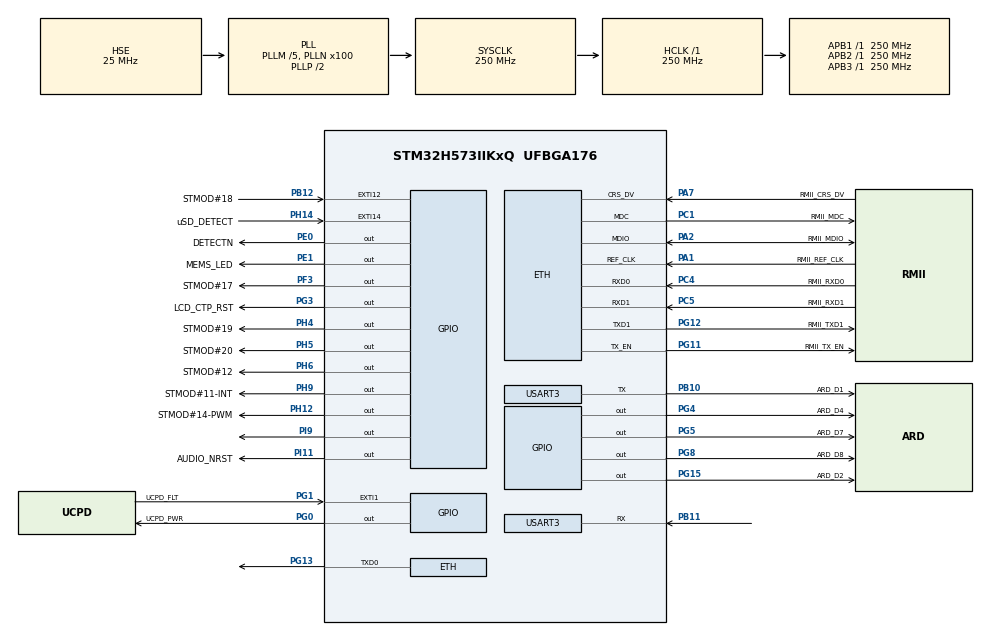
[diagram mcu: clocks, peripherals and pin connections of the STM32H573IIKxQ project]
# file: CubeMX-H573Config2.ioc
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BOOTPATH.BootPathName=LEGACY
BOOTPATH.UserSelectedBootPath=LEGACY
CORTEX_M33_NS.userName=CORTEX_M33
ETH.MediaInterface=HAL_ETH_RMII_MODE
ETH.RxBuffLen=1536
ITTIA_DB.I-CUBE-ITTIADB_Lite-H5.9.1.0.DB_APP_MEM_SEG_BUFFER_SIZE=3*128*1024
ITTIA_DB.I-CUBE-ITTIADB_Lite-H5.9.1.0.ITTIAIiDBIiLiteCcDatabaseJjITTIAIiDBIiLiteJjCore=true
ITTIA_DB.I-CUBE-ITTIADB_Lite-H5.9.1.0.ITTIAIiDBIiLiteCcDatabaseJjITTIAIiDBIiLiteJjThreadXOoSupport=true
Mcu.Family=STM32H5
Mcu.Name=STM32H573IIKxQ
Mcu.Package=UFBGA176
NETXDUO.ETH_ON=1
NETXDUO.LAN_8742=1
NETXDUO.NX_APP_IP_INSTANCE_THREAD_SIZE=2*1024
NETXDUO.NX_APP_MEM_POOL_SIZE=42*1024
NETXDUO.NX_APP_PACKET_POOL_SIZE=10
NETXDUO.NX_APP_THREAD_STACK_SIZE=2*1024
NETXDUO.NX_AUTO_IP_DEBUG=false
NETXDUO.NX_DHCP_CLIENT_RESTORE_STATE=true
NETXDUO.NX_ENABLE_INTERFACE_CAPABILITY=true
NETXDUO.NetXDuo_Application_Thread_Name=App_Main_Thread_Entry
NETXDUO.NetXDuo_Generate_Init_Code=true
NVIC.ETH_IRQn=true\:7\:0\:true\:false\:true\:false\:true\:true\:true
NVIC.PriorityGroup=NVIC_PRIORITYGROUP_4
NVIC.TIM6_IRQn=true\:15\:0\:false\:false\:true\:false\:false\:true\:true
NVIC.TimeBase=TIM6_IRQn
NVIC.TimeBaseIP=TIM6
NVIC.USART3_IRQn=true\:0\:0\:false\:false\:true\:false\:true\:true\:true
NetXDuo.BSP.number=1
NetXDuo0.BSP.STBoard=false
NetXDuo0.BSP.api=BSP_COMPONENT_DRIVER
NetXDuo0.BSP.component=lan8742
NetXDuo0.BSP.instance=lan8742
NetXDuo0.BSP.name=LAN_Component
NetXDuo0.BSP.semaphore=SEMA_lan8742
NetXDuo0.BSP.solution=lan8742
PA0.GPIO_Label=ARD_A2
PA0.Signal=ADCx_INP0
PA1.GPIO_Label=RMII_REF_CLK
PA1.Mode=RMII
PA1.Signal=ETH_REF_CLK
PA10.Signal=USART1_RX
PA11.GPIO_Label=USB_FS_N
PA11.Signal=USB_DM
PA12.GPIO_Label=USB_FS_P
PA12.Signal=USB_DP
PA13(JTMS/SWDIO).GPIO_Label=JTMS
PA13(JTMS/SWDIO).Signal=DEBUG_JTMS-SWDIO
PA14(JTCK/SWCLK).GPIO_Label=JTCK
PA14(JTCK/SWCLK).Signal=DEBUG_JTCK-SWCLK
PA15(JTDI).GPIO_Label=JTDI
PA15(JTDI).Signal=DEBUG_JTDI
PA2.GPIO_Label=RMII_MDIO
PA2.Mode=RMII
PA2.Signal=ETH_MDIO
PA3.GPIO_Label=ARD_D10
PA3.Signal=SPI2_NSS
PA4.GPIO_Label=ARD_A1
PA4.Signal=ADCx_INP18
PA5.GPIO_Label=ARD_A3
PA5.Signal=ADCx_INP19
PA6.GPIO_Label=ARD_A4
PA6.Signal=ADCx_INP3
PA7.GPIO_Label=RMII_CRS_DV
PA7.Mode=RMII
PA7.Signal=ETH_CRS_DV
PA8.GPIO_Label=ARD_D9
PA8.Signal=S_TIM1_CH1
PA9.Signal=USART1_TX
PB0.GPIO_Label=ARD_A0
PB0.Signal=ADCx_INP9
PB1.GPIO_Mode=GPIO_MODE_AF_PP
PB1.GPIO_PuPd=GPIO_NOPULL
PB1.GPIO_Speed_High_Default=GPIO_SPEED_FREQ_VERY_HIGH
PB1.Signal=OCTOSPI1_IO0
PB10.GPIO_Label=ARD_D1
PB10.Mode=Asynchronous
PB10.Signal=USART3_TX
PB11.Mode=Asynchronous
PB11.Signal=USART3_RX
PB12.GPIO_Label=STMOD\#18
PB12.Signal=GPXTI12
PB13.GPIO_Label=UCPD_CC1
PB13.Signal=UCPD1_CC1
PB14.GPIO_Label=UCPD_CC2
PB14.Signal=UCPD1_CC2
PB15.GPIO_Label=ARD_D11
PB15.Signal=SPI2_MOSI
PB2.Signal=OCTOSPI1_DQS
PB3(JTDO/TRACESWO).GPIO_Label=SWO
PB3(JTDO/TRACESWO).Signal=DEBUG_JTDO-SWO
PB4(NJTRST).GPIO_Label=NJTRST
PB4(NJTRST).Signal=DEBUG_JTRST
PB5.GPIO_Label=ARD_D3
PB5.Signal=S_TIM3_CH2
PB6.GPIO_Label=I2C1_SCL
PB6.Signal=I2C1_SCL
PB7.GPIO_Label=I2C1_SDA
PB7.Signal=I2C1_SDA
PC0.Signal=OCTOSPI1_IO7
PC1.GPIO_Label=RMII_MDC
PC1.Mode=RMII
PC1.Signal=ETH_MDC
PC10.GPIO_Label=SDIO1_D2
PC10.Signal=SDMMC1_D2
PC11.GPIO_Label=SDIO1_D3
PC11.Signal=SDMMC1_D3
PC12.GPIO_Label=SDIO1_CK
PC12.Signal=SDMMC1_CK
PC14-OSC32_IN(OSC32_IN).Signal=RCC_OSC32_IN
PC15-OSC32_OUT(OSC32_OUT).Signal=RCC_OSC32_OUT
PC2.GPIO_Mode=GPIO_MODE_AF_PP
PC2.GPIO_PuPd=GPIO_NOPULL
PC2.GPIO_Speed_High_Default=GPIO_SPEED_FREQ_VERY_HIGH
PC2.Signal=OCTOSPI1_IO2
PC3.GPIO_Label=PDM_SAI1_SD3
PC3.Signal=SAI1_D3
PC4.GPIO_Label=RMII_RXD0
PC4.Mode=RMII
PC4.Signal=ETH_RXD0
PC5.GPIO_Label=RMII_RXD1
PC5.Mode=RMII
PC5.Signal=ETH_RXD1
PC8.GPIO_Label=SDIO1_D0
PC8.Signal=SDMMC1_D0
PC9.GPIO_Label=SDIO1_D1
PC9.Signal=SDMMC1_D1
PD11.Signal=SAI1_CK1
PD12.GPIO_Mode=GPIO_MODE_AF_PP
PD12.GPIO_PuPd=GPIO_NOPULL
PD12.GPIO_Speed_High_Default=GPIO_SPEED_FREQ_VERY_HIGH
PD12.Signal=OCTOSPI1_IO1
PD13.GPIO_Mode=GPIO_MODE_AF_PP
PD13.GPIO_PuPd=GPIO_NOPULL
PD13.GPIO_Speed_High_Default=GPIO_SPEED_FREQ_VERY_HIGH
PD13.Signal=OCTOSPI1_IO3
PD2.GPIO_Label=SDIO1_CMD
PD2.Signal=SDMMC1_CMD
PD6.Signal=SAI1_SD_A
PE0.GPIO_Label=DETECTN
PE0.Signal=GPIO_Output
PE1.GPIO_Label=MEMS_LED
PE1.Signal=GPIO_Output
PE2.Signal=DEBUG_TRACECLK
PE3.GPIO_Label=TRACED0
PE3.Signal=DEBUG_TRACED0
PE4.Signal=SAI1_D2
PE5.GPIO_Label=TRACED2
PE5.Signal=DEBUG_TRACED2
PE6.GPIO_Label=TRACED3
PE6.Signal=DEBUG_TRACED3
PF10.GPIO_Mode=GPIO_MODE_AF_PP
PF10.GPIO_PuPd=GPIO_NOPULL
PF10.GPIO_Speed_High_Default=GPIO_SPEED_FREQ_VERY_HIGH
PF10.Signal=OCTOSPI1_CLK
PF11.GPIO_Label=STMOD\#13
PF11.Signal=ADC1_INP2
PF12.GPIO_Label=ARD_A5
PF12.Signal=ADC1_INP6
PF13.GPIO_Label=IBUS_SENSE
PF13.Signal=ADC2_INP2
PF14.GPIO_Label=VBUS_SENSE
PF14.Signal=ADC2_INP6
PF3.GPIO_Label=STMOD\#17
PF3.Signal=GPIO_Output
PG0.GPIO_Label=UCPD_PWR
PG0.Signal=GPIO_Output
PG1.GPIO_Label=UCPD_FLT
PG1.Signal=GPXTI1
PG10.GPIO_Label=SAI2_SD_B
PG10.Signal=SAI2_SD_B
PG11.GPIO_Label=RMII_TX_EN
PG11.Mode=RMII
PG11.Signal=ETH_TX_EN
PG12.GPIO_Label=RMII_TXD1
PG12.Mode=RMII
PG12.Signal=ETH_TXD1
PG13.Mode=RMII
PG13.Signal=ETH_TXD0
PG14.GPIO_Label=TRACED1
PG14.Signal=DEBUG_TRACED1
PG15.GPIO_Label=ARD_D2
PG15.Signal=GPIO_Output
PG3.GPIO_Label=LCD_CTP_RST
PG3.Signal=GPIO_Output
PG4.GPIO_Label=ARD_D4
PG4.Signal=GPIO_Output
PG5.GPIO_Label=ARD_D7
PG5.Signal=GPIO_Output
PG6.GPIO_Mode=GPIO_MODE_AF_PP
PG6.GPIO_PuPd=GPIO_NOPULL
PG6.GPIO_Speed_High_Default=GPIO_SPEED_FREQ_VERY_HIGH
PG6.Signal=OCTOSPI1_NCS
PG8.GPIO_Label=ARD_D8
PG8.Signal=GPIO_Output
PG9.GPIO_Mode=GPIO_MODE_AF_PP
PG9.GPIO_PuPd=GPIO_NOPULL
PG9.GPIO_Speed_High_Default=GPIO_SPEED_FREQ_VERY_HIGH
PG9.Signal=OCTOSPI1_IO6
PH0-OSC_IN(PH0).Mode=HSE-DIG-External-Clock-Source
PH0-OSC_IN(PH0).Signal=RCC_OSC_IN
PH10.GPIO_Label=ARD_D6
PH10.Signal=S_TIM5_CH1
PH11.GPIO_Label=ARD_D5
PH11.Signal=S_TIM5_CH2
PH12.GPIO_Label=STMOD\#14-PWM
PH12.Signal=GPIO_Output
PH14.GPIO_Label=uSD_DETECT
PH14.Signal=GPXTI14
PH2.GPIO_Mode=GPIO_MODE_AF_PP
PH2.GPIO_PuPd=GPIO_NOPULL
PH2.GPIO_Speed_High_Default=GPIO_SPEED_FREQ_VERY_HIGH
PH2.Signal=OCTOSPI1_IO4
PH3.GPIO_Mode=GPIO_MODE_AF_PP
PH3.GPIO_PuPd=GPIO_NOPULL
PH3.GPIO_Speed_High_Default=GPIO_SPEED_FREQ_VERY_HIGH
PH3.Signal=OCTOSPI1_IO5
PH4.GPIO_Label=STMOD\#19
PH4.Signal=GPIO_Output
PH5.GPIO_Label=STMOD\#20
PH5.Signal=GPIO_Output
PH6.GPIO_Label=STMOD\#12
PH6.Signal=GPIO_Output
PH7.GPIO_Label=STMOD\#12-RST
PH7.Signal=SPI5_MISO
PH8.GPIO_Label=STMOD\#9-MISOs
PH8.Signal=SPI5_MOSI
PH9.GPIO_Label=STMOD\#11-INT
PH9.Signal=GPIO_Output
PI1.GPIO_Label=ARD_D13
PI1.Signal=SPI2_SCK
PI10.GPIO_Label=RMII_RX_ER
PI10.Signal=ETH_RX_ER
PI11.GPIO_Label=AUDIO_NRST
PI11.Signal=GPIO_Output
PI2.GPIO_Label=ARD_D12
PI2.Signal=SPI2_MISO
PI4.GPIO_Label=SAI2_MCLK_A
PI4.Signal=SAI2_MCLK_A
PI5.GPIO_Label=SAI2_SCK_A
PI5.Signal=SAI2_SCK_A
PI6.GPIO_Label=SAI2_SD_A
PI6.Signal=SAI2_SD_A
PI7.GPIO_Label=SAI2_FS_A
PI7.Signal=SAI2_FS_A
PI9.Signal=GPIO_Output
ProjectManager.HeapSize=0x200
ProjectManager.StackSize=0x400
ProjectManager.TargetToolchain=STM32CubeIDE
RCC.ADCFreq_Value=250000000
RCC.AHBFreq_Value=250000000
RCC.APB1Freq_Value=250000000
RCC.APB1TimFreq_Value=250000000
RCC.APB2Freq_Value=250000000
RCC.APB2TimFreq_Value=250000000
RCC.APB3Freq_Value=250000000
RCC.CSI_VALUE=4000000
RCC.CortexFreq_Value=250000000
RCC.EPOD_VALUE=25000000
RCC.HCLKFreq_Value=250000000
RCC.HSE_VALUE=25000000
RCC.HSI48_VALUE=48000000
RCC.HSIDiv=RCC_HSI_DIV1
RCC.HSI_VALUE=64000000
RCC.LSE_VALUE=32768
RCC.LSIRC_VALUE=32000
RCC.PLL2FRACN=0
RCC.PLL2N=32
RCC.PLL2P=1
RCC.PLLM=5
RCC.PLLN=100
RCC.PLLSourceVirtual=RCC_PLL1_SOURCE_HSE
RCC.SYSCLKFreq_VALUE=250000000
RCC.SYSCLKSource=RCC_SYSCLKSOURCE_PLLCLK
RCC.USART3CLockSelection=RCC_USART3CLKSOURCE_HSI
RCC.USBFreq_Value=48000000
RCC.VCOOutputFreq_Value=500000000
SH.ADCx_INP0.0=ADC1_INP0
SH.ADCx_INP18.0=ADC1_INP18
SH.ADCx_INP19.0=ADC1_INP19
SH.ADCx_INP3.0=ADC1_INP3
SH.ADCx_INP9.0=ADC1_INP9
SH.S_TIM1_CH1.0=TIM1_CH1
SH.S_TIM3_CH2.0=TIM3_CH2
SH.S_TIM5_CH1.0=TIM5_CH1
SH.S_TIM5_CH2.0=TIM5_CH2
STM32H573I-DK.BUTTON=0
STM32H573I-DK.LCD_TC_ON=false
STM32H573I-DK.LD1=false
STM32H573I-DK.LD2=false
STM32H573I-DK.LD3=false
STM32H573I-DK.LD4=false
STM32H573I-DK.VCP=true
THREADX.TX_APP_CREATION=1
THREADX.TX_APP_GENERATE_INIT_CODE=true
THREADX.TX_APP_MEM_POOL_SIZE=98304
THREADX.TX_APP_STACK_SIZE=65536
THREADX.TX_ENABLE_STACK_CHECKING=1
THREADX.TX_MINIMUM_STACK=1024
USART3.BaudRate=38400
USART3.DMADisableonRxErrorParam=ADVFEATURE_DMA_DISABLEONRXERROR
USART3.Mode=MODE_RX
USART3.OverSampling=UART_OVERSAMPLING_8
USART3.VirtualMode-Asynchronous=VM_ASYNC
VP_BOOTPATH_VS_BOOTPATH.Mode=BP_Activate
VP_CORTEX_M33_NS_VS_Hclk.Mode=Hclk_Mode
VP_DCACHE1_VS_DCACHE.Mode=DCACHE_Activate
VP_ICACHE_VS_ICACHE.Mode=DefaultMode
VP_ITTIA_DB.I-CUBE-ITTIADB_Lite-H5_VS_DatabaseJjITTIAIiDBIiLite_9.1.0_9.1.0.Mode=DatabaseJjITTIAIiDBIiLite
VP_MEMORYMAP_VS_MEMORYMAP.Mode=CurAppReg
VP_NETXDUO_VS_AddonsOoAutoIP.Mode=Addons_AutoIP
VP_NETXDUO_VS_AddonsOoDHCP.Mode=Addons_DHCP_Client
VP_NETXDUO_VS_AddonsOoDNS.Mode=Addons_DNS
VP_NETXDUO_VS_EthernetOoPhyOoInterface.Mode=LAN8742_Phy_Interface
VP_NETXDUO_VS_NXOoCore.Mode=NX_Core
VP_NETXDUO_VS_NetworkOoInterface.Mode=Ethernet_Interface
VP_PWR_VS_LPOM.Mode=PowerOptimisation
VP_PWR_VS_SECSignals.Mode=Security/Privilege
VP_STM32H573I-DK_VS_BSP_COMMON.Mode=COMMON
VP_STM32H573I-DK_VS_BSP_LCD.Mode=LCD
VP_SYS_VS_tim6.Mode=TIM6
VP_THREADX_VS_RTOSJjThreadXJjCoreJjDefault.Mode=Core_Default
board=STM32H573I-DK

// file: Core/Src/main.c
/* USER CODE BEGIN Header */
/**
  ******************************************************************************
  * @file           : main.c
  * @brief          : R.Oliva Testing UART3 with ThreadX 01.26
  ******************************************************************************
  * @attention
  *
  * Copyright (c) 2026 STMicroelectronics.
  * All rights reserved.
  *
  * This software is licensed under terms that can be found in the LICENSE file
  * in the root directory of this software component.
  * If no LICENSE file comes with this software, it is provided AS-IS.
  *
  ******************************************************************************
  */

  /* Revisions
   *  11.2.26 a) Uncomment - still not queued
      Line 462      ProcessMeteoFrameToStream(rxBuffer); // Store in ITTIA DB stream
	  12.2.26 b) Add Queue to store ISR Data from UART3-METEO, insert in Callback

   */
/* USER CODE END Header */
#include "app_threadx.h"
#include "main.h"
#include "dcache.h"
#include "eth.h"
#include "icache.h"
#include "memorymap.h"
#include "usart.h"
#include "gpio.h"

/* USER CODE BEGIN Includes */
/* Includes (add these if not already present) ok 14-01-26 */
#include "stm32h5xx_hal.h"
// Added 3.3.26
#include "app_ittia.h"
// #include "stm32h573i_discovery_lcd.h"   // or your BSP_LCD header 14-1-26 off
#include <stdio.h>
#include <string.h>
#include <stdlib.h>
// To avoid linker errors
// using int _gettimeofday(struct timeval *tv, void *tzvp) in USER CODE 4
#include <sys/time.h>
#include <errno.h>

// Added 27.1.26
#include "meteo_thread.h"

// *** NEW: Added for ITTIA DB integration ***
#include "meteo_example.h"

// 8.2.26 New checksum validation - Based on old CL2 (2014) -8-bit meteo.c/.h
#include "meteo_checksum.h"

// 9.2.26 Added METEO Simulator in file meteo_simulator.c, USER button
// changes from UART3 to Simulator data. USER button already in BSP package
#include "stm32h573i_discovery.h"
#include "meteo_simulator.h"

/* USER CODE END Includes */

/* USER CODE BEGIN PD */
/* Private defines 13-01-26 */
// RX_BUFF_SIZE 100 Sent to main.h 13.2.26
// #define RX_BUFFER_SIZE          128

#define FRAME_START             "UUU$"
#define FRAME_END               "*QQQ"
#define MAX_FRAME_LEN           80

/* USER CODE END PD */

COM_InitTypeDef BspCOMInit;

/* USER CODE BEGIN PV */

/* 1-2-26- OSPI */
XSPI_HandleTypeDef hospi1;              // ← ADD THIS LINE 2/2/26
// DMA 3/2/26 from workin main.c
DMA_HandleTypeDef handle_GPDMA1_Channel1;
DMA_HandleTypeDef handle_GPDMA1_Channel0;

/* Private variables 13-01-26 */
extern UART_HandleTypeDef huart3;       // From CubeMX
// extern UART_HandleTypeDef huart1;       // VCP

static uint8_t rxByte;
static char rxBuffer[RX_BUFFER_SIZE];
static uint8_t rxIndex = 0;
static uint8_t frameInProgress = 0;
static uint32_t lastReceptionTick = 0;

/* 17.1.26 ThreadX variables for meteo thread */
TX_THREAD meteo_thread;
// recommended 27.1. use UCHAR instead of uint8_t
//#define METEO_THREAD_STACK_SIZE   2048   // This is fine 2/2/26
UCHAR meteo_thread_stack[2048];  // Small stack for minimal thread
// uint8_t meteo_thread_stack[1024]; not ThreadX Native type

/* 13-2-26 See Redefined Sizes in main.h for
 * METEO frame queue for passing data from ISR to thread */
TX_QUEUE meteo_frame_queue;
UCHAR meteo_queue_storage[METEO_QUEUE_STORAGE_SIZE];

/* USER CODE END PV */

void SystemClock_Config(void);
/* USER CODE BEGIN PFP */
/* Forward declarations 13.01.26 */
void ProcessMeteoFrame(const char* frame);
int ChecksumValidate(const char* frame);   // implement your CRCC logic

// 17.1.26 Thread Entry function
// 27.1 in meteo_thread.h
// static void Meteo_Thread_Entry(ULONG thread_input);  // Thread entry function
// Added 2/2/26 OCTO_SPI Init
static void MX_OCTOSPI1_Init(void);     // ← ADD THIS LINE 2/2
static void MX_GPDMA1_Init(void);       // ← Added 2/2/ 19:55
/* USER CODE END PFP */

int main(void)
{

  /* MCU Configuration--------------------------------------------------------*/

  /* Reset of all peripherals, Initializes the Flash interface and the Systick. */
  HAL_Init();

  /* Configure the system clock */
  SystemClock_Config();

  /* Initialize all configured peripherals */
  MX_GPIO_Init();
  MX_GPDMA1_Init(); // Added 2.2.26 Last resource
  MX_ICACHE_Init();
  // 2.2.26 - OCTO_SPIInit
  MX_OCTOSPI1_Init();        // ← ADD THIS LINE -2.2-26
  MX_DCACHE1_Init();

  MX_ETH_Init();
  MX_USART3_UART_Init();

  /* USER CODE BEGIN 2 */

  //- 14-1-26 NO COM Init yet here
  // MX_ThreadX_Init();
  /* USER CODE END 2 */

  //MX_ThreadX_Init();

  /* Initialize COM1 port (115200, 8 bits (7-bit data + 1 stop bit), no parity */
  BspCOMInit.BaudRate   = 115200;
  BspCOMInit.WordLength = COM_WORDLENGTH_8B;
  BspCOMInit.StopBits   = COM_STOPBITS_1;
  BspCOMInit.Parity     = COM_PARITY_NONE;
  BspCOMInit.HwFlowCtl  = COM_HWCONTROL_NONE;
  if (BSP_COM_Init(COM1, &BspCOMInit) != BSP_ERROR_NONE)
  {
    Error_Handler();
  }

  /* Infinite loop */
  /* USER CODE BEGIN WHILE */
  printf("COM - Ok Connection STM32H573! \r\n");
  // eliminate Task creation here, move to app_threadx.c (Claude 27.1.26)

  printf("\n=== METEO Weather Station with ITTIA DB ===\n");
  //10.2.26 Add VCP control
  printf("Console Control: Press 'S' to toggle simulator\n");

  // Added 9.2.26 to toggle Simulator - don't work
#ifdef USE_BSP_BUTTON
  // Initialize USER button (blue button on board)
  BSP_PB_Init(BUTTON_USER, BUTTON_MODE_EXTI);
  // Override the default priority (24 is too low!)
  HAL_NVIC_SetPriority(EXTI13_IRQn, 5, 0);
  HAL_NVIC_EnableIRQ(EXTI13_IRQn);

  printf("USER button initialized (priority 5)\n");
  printf("USER button initialized - Press to toggle simulator\n");
#endif

  // *** NEW: Initialize ITTIA DB ***
  printf("Initializing ITTIA DB...\n");
  MX_ITTIA_Init();

  printf("Starting ThreadX kernel\r\n");
  /* Initialize ThreadX 17.1.26 */
  MX_ThreadX_Init();

  // All rest eliminated 27.1.26 Claude

  /* Infinite loop */
  while (1)
  {
   //Scheduler on 17.1.26
    }
    /* USER CODE END WHILE */

    /* USER CODE BEGIN 3 */
  {
	// No user code after While 13.01.26
  }
  /* USER CODE END 3 */
}

void SystemClock_Config(void)
{
  RCC_OscInitTypeDef RCC_OscInitStruct = {0};
  RCC_ClkInitTypeDef RCC_ClkInitStruct = {0};

  /** Configure the main internal regulator output voltage
  */
  __HAL_PWR_VOLTAGESCALING_CONFIG(PWR_REGULATOR_VOLTAGE_SCALE0);

  while(!__HAL_PWR_GET_FLAG(PWR_FLAG_VOSRDY)) {}

  /** Initializes the RCC Oscillators according to the specified parameters
  * in the RCC_OscInitTypeDef structure.
  */
  RCC_OscInitStruct.OscillatorType = RCC_OSCILLATORTYPE_HSE;
  RCC_OscInitStruct.HSEState = RCC_HSE_BYPASS_DIGITAL;
  RCC_OscInitStruct.PLL.PLLState = RCC_PLL_ON;
  RCC_OscInitStruct.PLL.PLLSource = RCC_PLL1_SOURCE_HSE;
  RCC_OscInitStruct.PLL.PLLM = 5;
  RCC_OscInitStruct.PLL.PLLN = 100;
  RCC_OscInitStruct.PLL.PLLP = 2;
  RCC_OscInitStruct.PLL.PLLQ = 2;
  RCC_OscInitStruct.PLL.PLLR = 2;
  RCC_OscInitStruct.PLL.PLLRGE = RCC_PLL1_VCIRANGE_2;
  RCC_OscInitStruct.PLL.PLLVCOSEL = RCC_PLL1_VCORANGE_WIDE;
  RCC_OscInitStruct.PLL.PLLFRACN = 0;
  if (HAL_RCC_OscConfig(&RCC_OscInitStruct) != HAL_OK)
  {
    Error_Handler();
  }

  /** Initializes the CPU, AHB and APB buses clocks
  */
  RCC_ClkInitStruct.ClockType = RCC_CLOCKTYPE_HCLK|RCC_CLOCKTYPE_SYSCLK
                              |RCC_CLOCKTYPE_PCLK1|RCC_CLOCKTYPE_PCLK2
                              |RCC_CLOCKTYPE_PCLK3;
  RCC_ClkInitStruct.SYSCLKSource = RCC_SYSCLKSOURCE_PLLCLK;
  RCC_ClkInitStruct.AHBCLKDivider = RCC_SYSCLK_DIV1;
  RCC_ClkInitStruct.APB1CLKDivider = RCC_HCLK_DIV1;
  RCC_ClkInitStruct.APB2CLKDivider = RCC_HCLK_DIV1;
  RCC_ClkInitStruct.APB3CLKDivider = RCC_HCLK_DIV1;

  if (HAL_RCC_ClockConfig(&RCC_ClkInitStruct, FLASH_LATENCY_5) != HAL_OK)
  {
    Error_Handler();
  }

  /** Configure the programming delay
  */
  __HAL_FLASH_SET_PROGRAM_DELAY(FLASH_PROGRAMMING_DELAY_2);
}

// Added 2/2/26
static void MX_OCTOSPI1_Init(void)
{

  HAL_XSPI_DLYB_CfgTypeDef HAL_OSPI_DLYB_Cfg_Struct = {0};

  /* OCTOSPI1 parameter configuration*/
  hospi1.Instance = OCTOSPI1;
  hospi1.Init.FifoThresholdByte = 1;
  hospi1.Init.MemoryMode = HAL_XSPI_SINGLE_MEM;
  hospi1.Init.MemoryType = HAL_XSPI_MEMTYPE_MACRONIX;
  hospi1.Init.MemorySize = HAL_XSPI_SIZE_512MB;
  hospi1.Init.ChipSelectHighTimeCycle = 2;
  hospi1.Init.FreeRunningClock = HAL_XSPI_FREERUNCLK_DISABLE;
  hospi1.Init.ClockMode = HAL_XSPI_CLOCK_MODE_0;
  hospi1.Init.WrapSize = HAL_XSPI_WRAP_NOT_SUPPORTED;
  hospi1.Init.ClockPrescaler = 3;
  hospi1.Init.SampleShifting = HAL_XSPI_SAMPLE_SHIFT_NONE;
  hospi1.Init.DelayHoldQuarterCycle = HAL_XSPI_DHQC_ENABLE;
  hospi1.Init.ChipSelectBoundary = HAL_XSPI_BONDARYOF_NONE;
  hospi1.Init.DelayBlockBypass = HAL_XSPI_DELAY_BLOCK_ON;
  hospi1.Init.Refresh = 0;
  if (HAL_XSPI_Init(&hospi1) != HAL_OK)
  {
    Error_Handler();
  }
  HAL_OSPI_DLYB_Cfg_Struct.Units = 56;
  HAL_OSPI_DLYB_Cfg_Struct.PhaseSel = 2;
  if (HAL_XSPI_DLYB_SetConfig(&hospi1, &HAL_OSPI_DLYB_Cfg_Struct) != HAL_OK)
  {
    Error_Handler();
  }

}

// 2.2.26 dma1 ADDED From ITTIA_Nx_NoR_NanoEdgeAI
static void MX_GPDMA1_Init(void)
{

  /* Peripheral clock enable */
  __HAL_RCC_GPDMA1_CLK_ENABLE();

  /* GPDMA1 interrupt Init */
    HAL_NVIC_SetPriority(GPDMA1_Channel0_IRQn, 0, 0);
    HAL_NVIC_EnableIRQ(GPDMA1_Channel0_IRQn);
    HAL_NVIC_SetPriority(GPDMA1_Channel1_IRQn, 0, 0);
    HAL_NVIC_EnableIRQ(GPDMA1_Channel1_IRQn);

}

/* USER CODE BEGIN 4 */
// Functions added 13.01.26 re-added here 14.1.26 -
// ISR Related Added 17.1.26

/* Meteo thread entry function (runs the UART3 interrupt reception) */
/* 27.1.26 not static any more */
void Meteo_Thread_Entry(ULONG thread_input)
{
  (void)thread_input;  // Unused

  /* USER CODE BEGIN METEO_THREAD */
  // Start the initial interrupt reception (single byte)
  if (HAL_UART_Receive_IT(&huart3, &rxByte, 1) != HAL_OK)
  {
    printf("UART3 IT Start Error\r\n");
    Error_Handler();
  }

  while (1)
  {
    // Thread sleeps until interrupt callback wakes it (or use semaphore if needed)
    tx_thread_sleep(50);  // Small sleep to avoid 100% CPU - adjust as needed
  }
  /* USER CODE END METEO_THREAD */
}

/* UART3 RX complete callback (called on each byte) */
// 27.1.26 20:16Hs
// Frame correction 8-2-26 with 16-bit checksum
/* UART3 RX complete callback (called on each byte) */
// 13.2.26 Add queue to Receive Data from UART3

void HAL_UART_RxCpltCallback(UART_HandleTypeDef *huart)
{
  if (huart->Instance == USART3)
  {
    if (!frameInProgress)
    {
      /* Look for 'U' 'U' 'U' '$' sequence */
      rxBuffer[rxIndex % 4] = rxByte;
      if (rxIndex >= 3 &&
          rxBuffer[(rxIndex - 3) % 4] == 'U' &&
          rxBuffer[(rxIndex - 2) % 4] == 'U' &&
          rxBuffer[(rxIndex - 1) % 4] == 'U' &&
          rxBuffer[rxIndex % 4] == '$')
      {
        frameInProgress = 1;
        rxBuffer[0] = 'U';
        rxBuffer[1] = 'U';
        rxBuffer[2] = 'U';
        rxBuffer[3] = '$';
        rxIndex = 4;
      }
      else
      {
        rxIndex++;
      }
    }
    else
    {
      /* Collecting frame data */
      if (rxIndex < RX_BUFFER_SIZE - 1)
      {
        rxBuffer[rxIndex++] = rxByte;

        /* Check for end: *QQQ */
        if (rxIndex >= 4 &&
            rxBuffer[rxIndex - 4] == '*' &&
            rxBuffer[rxIndex - 3] == 'Q' &&
            rxBuffer[rxIndex - 2] == 'Q' &&
            rxBuffer[rxIndex - 1] == 'Q')
        {
          rxBuffer[rxIndex] = '\0';

          /* Frame complete */
          printf("\n[METEO Frame] (%d bytes): %s\r\n", rxIndex, rxBuffer);

          if (meteo_validate_checksum(rxBuffer))
          {
            printf("[METEO] Checksum OK\n");

            // Display immediately (safe in ISR)
            ProcessMeteoFrame(rxBuffer);

            // 13.2.26 Post to queue for database storage (thread context) ***
            extern TX_QUEUE meteo_frame_queue;
            if (tx_queue_send(&meteo_frame_queue, rxBuffer, TX_NO_WAIT) != TX_SUCCESS)
            {
                printf("[METEO] Queue full - frame dropped\n");
            }
          }
          else
          {
            printf("[METEO] Checksum validation failed\n");
          }

          frameInProgress = 0;
          rxIndex = 0;
        }
      }
      else
      {
        /* Buffer overflow */
        printf("[METEO] Buffer overflow - frame dropped\n");
        frameInProgress = 0;
        rxIndex = 0;
      }
    }

    /* Restart reception */
    HAL_UART_Receive_IT(&huart3, &rxByte, 1);
  }
}

/* UART3 error callback (clear framing errors)
*  Modified 9.2.26 to avoid printing normal conditions */
void HAL_UART_ErrorCallback(UART_HandleTypeDef *huart)
{
  if (huart->Instance == USART3)
  {
	  uint32_t isr = READ_REG(huart->Instance->ISR);

	      // 9.2.26 Only print actual errors, not normal idle/timeout flags
	      if (isr & (UART_FLAG_PE | UART_FLAG_FE | UART_FLAG_NE | UART_FLAG_ORE))
	      {
	          printf("[UART ERR: ISR=0x%08lX]\r\n", isr);
	      }

	      __HAL_UART_CLEAR_FLAG(huart, UART_CLEAR_OREF | UART_CLEAR_FEF |
	                            UART_CLEAR_NEF | UART_CLEAR_IDLEF | UART_CLEAR_RTOF);

	      // Restart reception
	      HAL_UART_Receive_IT(&huart3, &rxByte, 1);
  }
}

/**
 * @brief  Parse the meteo frame and display values - 8.2.26
 * @param  frame: null-terminated string starting with "UUU$" ... "*QQQ"
 */
void ProcessMeteoFrame(const char* frame)
{
  uint32_t ts = HAL_GetTick();
  uint32_t temp_adc = 0, baro_adc = 0, wdir = 0, wspeed = 0, volt = 0;
  uint16_t crcc = 0;

  // Format: UUU$ttttt.bbbbb.dddd.sssss.vvv.CRCC*QQQ
  // Parse: skip the CRCC field in scanf
  if (sscanf(frame, "UUU$%5u.%5u.%4u.%5u.%3u.%4hx",
             &temp_adc, &baro_adc, &wdir, &wspeed, &volt, &crcc) >= 5)
  {
    // Convert to engineering units
    float temp_c = temp_adc * 0.01f;        // e.g., 08030 → 80.30°C
    float pressure_hpa = baro_adc * 0.1f;   // e.g., 00327 → 32.7 hPa

    // Display on console
    printf("[TS %lu] T=%.2f [degC] P=%.1f [hPa] WDir=%u.%u [deg] WSpeed=%u [m/s] V=%u mV CRC=0x%04X\r\n",
           ts, temp_c, pressure_hpa, wdir/10, wdir%10, wspeed, volt, crcc);

    #ifdef NEW_LCD
    // LCD display code here if needed
    #endif
  }
  else
  {
    printf("[METEO] Parse failed: %s\r\n", frame);
  }
}

// *** REMOVED OLD ChecksumValidate() FUNCTION ***
// 8.2.26 Now using meteo_validate_checksum() from meteo_checksum.c

/* Replaced old function 8-2-26
int ChecksumValidate(const char* frame)
{
  // Find position before *QQQ
  const char* end = strstr(frame, "*QQQ");
  if (!end) return 0;

  // simple 8-bit sum of all chars from UUU$ to before CRCC field
  uint8_t calc = 0;
  const char* p = frame;
  while (p < end)
  {
    calc += (uint8_t)*p++;
  }

  // Extract reported CRCC (assuming it's hex after last . before *)
  uint16_t reported = 0;
  char crcc_str[8];
  if (sscanf(end - 7, "%*[^.] . %hx", &reported) != 1)   // adjust pattern
    return 0;

  return (calc == (reported & 0xFF));   // example - change comparison
}
*/

// 14.1.26 To avoid Linker Error
int _gettimeofday(struct timeval *tv, void *tzvp)
{
    if (tv) {
        tv->tv_sec  = HAL_GetTick() / 1000;           // seconds since boot
        tv->tv_usec = (HAL_GetTick() % 1000) * 1000;  // rough ms to us
    }
    return 0;  // success (dummy)
}

/* USER CODE END 4 */

// Add 9.2.26 - USER BUTTON BSP Callback - don't work
#ifdef USE_BSP_BUTTON
/**
 * @brief GPIO EXTI callback - handles USER button press
 */
void HAL_GPIO_EXTI_Callback(uint16_t GPIO_Pin)
{
	printf("\n[BUTTON] Callback triggered!");
    if (GPIO_Pin == GPIO_PIN_13)  // USER button (blue button on board)
    {
        // Toggle METEO simulator
    	printf("\nSimulator Toggled");
        meteo_simulator_toggle();
    }
}
#endif

void HAL_TIM_PeriodElapsedCallback(TIM_HandleTypeDef *htim)
{
  if (htim->Instance == TIM6)
  {
    HAL_IncTick();
  }
}

void Error_Handler(void)
{
  __disable_irq();
  while (1)
  {
  }
}
